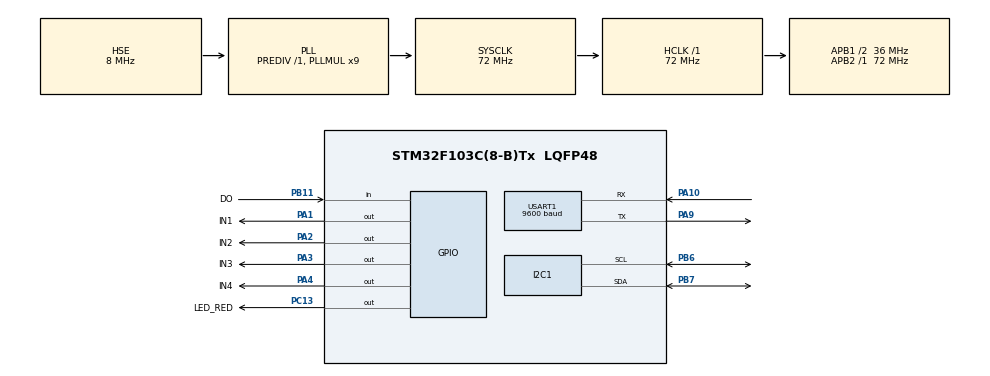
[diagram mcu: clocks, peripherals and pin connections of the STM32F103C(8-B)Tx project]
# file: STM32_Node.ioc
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Dma.Request0=USART1_TX
Dma.USART1_TX.0.Direction=DMA_MEMORY_TO_PERIPH
Dma.USART1_TX.0.Instance=DMA1_Channel4
Dma.USART1_TX.0.MemDataAlignment=DMA_MDATAALIGN_BYTE
Dma.USART1_TX.0.MemInc=DMA_MINC_ENABLE
Dma.USART1_TX.0.Mode=DMA_NORMAL
Dma.USART1_TX.0.PeriphDataAlignment=DMA_PDATAALIGN_BYTE
Dma.USART1_TX.0.PeriphInc=DMA_PINC_DISABLE
Dma.USART1_TX.0.Priority=DMA_PRIORITY_LOW
Mcu.Family=STM32F1
Mcu.Name=STM32F103C(8-B)Tx
Mcu.Package=LQFP48
NVIC.DMA1_Channel4_IRQn=true\:0\:0\:false\:false\:true\:false\:true
NVIC.PriorityGroup=NVIC_PRIORITYGROUP_4
NVIC.TIM2_IRQn=true\:0\:0\:false\:false\:true\:true\:true
NVIC.USART1_IRQn=true\:0\:0\:false\:false\:true\:true\:true
PA1.GPIO_Label=IN1
PA1.GPIO_Speed=GPIO_SPEED_FREQ_HIGH
PA1.Signal=GPIO_Output
PA10.Mode=Asynchronous
PA10.Signal=USART1_RX
PA13.Mode=Serial_Wire
PA13.Signal=SYS_JTMS-SWDIO
PA14.Mode=Serial_Wire
PA14.Signal=SYS_JTCK-SWCLK
PA2.GPIO_Label=IN2
PA2.GPIO_Speed=GPIO_SPEED_FREQ_HIGH
PA2.Signal=GPIO_Output
PA3.GPIO_Label=IN3
PA3.GPIO_Speed=GPIO_SPEED_FREQ_HIGH
PA3.Signal=GPIO_Output
PA4.GPIO_Label=IN4
PA4.GPIO_Speed=GPIO_SPEED_FREQ_HIGH
PA4.Signal=GPIO_Output
PA9.Mode=Asynchronous
PA9.Signal=USART1_TX
PB11.GPIO_Label=DO
PB11.GPIO_PuPd=GPIO_PULLUP
PB11.Signal=GPIO_Input
PB6.Mode=I2C
PB6.Signal=I2C1_SCL
PB7.Mode=I2C
PB7.Signal=I2C1_SDA
PC13-TAMPER-RTC.GPIO_Label=LED_RED
PC13-TAMPER-RTC.GPIO_Speed=GPIO_SPEED_FREQ_HIGH
PC13-TAMPER-RTC.Signal=GPIO_Output
PD0-OSC_IN.Mode=HSE-External-Oscillator
PD0-OSC_IN.Signal=RCC_OSC_IN
PD1-OSC_OUT.Mode=HSE-External-Oscillator
PD1-OSC_OUT.Signal=RCC_OSC_OUT
ProjectManager.HeapSize=0x200
ProjectManager.StackSize=0x400
ProjectManager.TargetToolchain=STM32CubeIDE
RCC.AHBFreq_Value=72000000
RCC.APB1CLKDivider=RCC_HCLK_DIV2
RCC.APB1Freq_Value=36000000
RCC.APB1TimFreq_Value=72000000
RCC.APB2Freq_Value=72000000
RCC.APB2TimFreq_Value=72000000
RCC.HCLKFreq_Value=72000000
RCC.PLLMUL=RCC_PLL_MUL9
RCC.PLLSourceVirtual=RCC_PLLSOURCE_HSE
RCC.SYSCLKFreq_VALUE=72000000
RCC.SYSCLKSource=RCC_SYSCLKSOURCE_PLLCLK
RCC.USBFreq_Value=72000000
TIM2.Period=999
TIM2.Prescaler=719
USART1.BaudRate=9600
USART1.VirtualMode=VM_ASYNC
VP_TIM2_VS_ClockSourceINT.Mode=Internal
board=custom

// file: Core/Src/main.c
/* USER CODE BEGIN Header */
/**
  ******************************************************************************
  * @file           : main.c
  * @brief          : Main program body
  ******************************************************************************
  * @attention
  *
  * <h2><center>&copy; Copyright (c) 2026 STMicroelectronics.
  * All rights reserved.</center></h2>
  *
  * This software component is licensed by ST under BSD 3-Clause license,
  * the "License"; You may not use this file except in compliance with the
  * License. You may obtain a copy of the License at:
  *                        opensource.org/licenses/BSD-3-Clause
  *
  ******************************************************************************
  */
/* USER CODE END Header */
#include "main.h"

/* USER CODE BEGIN Includes */
#include "global.h"
#include "software_timer.h"
#include "ldr.h"
#include "dht20.h"
#include "uart_com.h"
#include "led_blinky.h"

/* USER CODE END Includes */

I2C_HandleTypeDef hi2c1;

TIM_HandleTypeDef htim2;

UART_HandleTypeDef huart1;
DMA_HandleTypeDef hdma_usart1_tx;

void SystemClock_Config(void);
static void MX_GPIO_Init(void);
static void MX_I2C1_Init(void);
static void MX_TIM2_Init(void);
static void MX_DMA_Init(void);
static void MX_USART1_UART_Init(void);

int main(void)
{

  /* MCU Configuration--------------------------------------------------------*/

  /* Reset of all peripherals, Initializes the Flash interface and the Systick. */
  HAL_Init();

  /* Configure the system clock */
  SystemClock_Config();

  /* Initialize all configured peripherals */
  MX_GPIO_Init();
  MX_I2C1_Init();
  MX_TIM2_Init();
  MX_DMA_Init();
  MX_USART1_UART_Init();
  /* USER CODE BEGIN 2 */
  HAL_TIM_Base_Start_IT(&htim2);
  HAL_UART_Receive_IT(&huart1, &rx_data, 1);

  HAL_GPIO_WritePin(IN1_GPIO_Port, IN1_Pin, GPIO_PIN_SET);
  HAL_GPIO_WritePin(IN2_GPIO_Port, IN2_Pin, GPIO_PIN_SET);
  HAL_GPIO_WritePin(IN3_GPIO_Port, IN3_Pin, GPIO_PIN_SET);
  HAL_GPIO_WritePin(IN4_GPIO_Port, IN4_Pin, GPIO_PIN_SET);

  setTimer(0, 100);
  setTimer(1, 200);

  /* USER CODE END 2 */

  /* Infinite loop */
  while (1)
  {

    /* USER CODE BEGIN 3 */
	  if(isTimeExpired(0))
	  {
		  ledBlinky();
		  setTimer(0, 100);
	  }

	  LDR_Process();
	  if(isTimeExpired(1))
	  {
		  DHT20_Read();
		  Environment_Process();
		  UART_SendData();
		  setTimer(1, 200);
	  }
  }
  /* USER CODE END 3 */
}

void SystemClock_Config(void)
{
  RCC_OscInitTypeDef RCC_OscInitStruct = {0};
  RCC_ClkInitTypeDef RCC_ClkInitStruct = {0};

  /** Initializes the RCC Oscillators according to the specified parameters
  * in the RCC_OscInitTypeDef structure.
  */
  RCC_OscInitStruct.OscillatorType = RCC_OSCILLATORTYPE_HSE;
  RCC_OscInitStruct.HSEState = RCC_HSE_ON;
  RCC_OscInitStruct.HSEPredivValue = RCC_HSE_PREDIV_DIV1;
  RCC_OscInitStruct.HSIState = RCC_HSI_ON;
  RCC_OscInitStruct.PLL.PLLState = RCC_PLL_ON;
  RCC_OscInitStruct.PLL.PLLSource = RCC_PLLSOURCE_HSE;
  RCC_OscInitStruct.PLL.PLLMUL = RCC_PLL_MUL9;
  if (HAL_RCC_OscConfig(&RCC_OscInitStruct) != HAL_OK)
  {
    Error_Handler();
  }
  /** Initializes the CPU, AHB and APB buses clocks
  */
  RCC_ClkInitStruct.ClockType = RCC_CLOCKTYPE_HCLK|RCC_CLOCKTYPE_SYSCLK
                              |RCC_CLOCKTYPE_PCLK1|RCC_CLOCKTYPE_PCLK2;
  RCC_ClkInitStruct.SYSCLKSource = RCC_SYSCLKSOURCE_PLLCLK;
  RCC_ClkInitStruct.AHBCLKDivider = RCC_SYSCLK_DIV1;
  RCC_ClkInitStruct.APB1CLKDivider = RCC_HCLK_DIV2;
  RCC_ClkInitStruct.APB2CLKDivider = RCC_HCLK_DIV1;

  if (HAL_RCC_ClockConfig(&RCC_ClkInitStruct, FLASH_LATENCY_2) != HAL_OK)
  {
    Error_Handler();
  }
}

static void MX_I2C1_Init(void)
{

  hi2c1.Instance = I2C1;
  hi2c1.Init.ClockSpeed = 100000;
  hi2c1.Init.DutyCycle = I2C_DUTYCYCLE_2;
  hi2c1.Init.OwnAddress1 = 0;
  hi2c1.Init.AddressingMode = I2C_ADDRESSINGMODE_7BIT;
  hi2c1.Init.DualAddressMode = I2C_DUALADDRESS_DISABLE;
  hi2c1.Init.OwnAddress2 = 0;
  hi2c1.Init.GeneralCallMode = I2C_GENERALCALL_DISABLE;
  hi2c1.Init.NoStretchMode = I2C_NOSTRETCH_DISABLE;
  if (HAL_I2C_Init(&hi2c1) != HAL_OK)
  {
    Error_Handler();
  }

}

static void MX_TIM2_Init(void)
{

  TIM_ClockConfigTypeDef sClockSourceConfig = {0};
  TIM_MasterConfigTypeDef sMasterConfig = {0};

  htim2.Instance = TIM2;
  htim2.Init.Prescaler = 719;
  htim2.Init.CounterMode = TIM_COUNTERMODE_UP;
  htim2.Init.Period = 999;
  htim2.Init.ClockDivision = TIM_CLOCKDIVISION_DIV1;
  htim2.Init.AutoReloadPreload = TIM_AUTORELOAD_PRELOAD_DISABLE;
  if (HAL_TIM_Base_Init(&htim2) != HAL_OK)
  {
    Error_Handler();
  }
  sClockSourceConfig.ClockSource = TIM_CLOCKSOURCE_INTERNAL;
  if (HAL_TIM_ConfigClockSource(&htim2, &sClockSourceConfig) != HAL_OK)
  {
    Error_Handler();
  }
  sMasterConfig.MasterOutputTrigger = TIM_TRGO_RESET;
  sMasterConfig.MasterSlaveMode = TIM_MASTERSLAVEMODE_DISABLE;
  if (HAL_TIMEx_MasterConfigSynchronization(&htim2, &sMasterConfig) != HAL_OK)
  {
    Error_Handler();
  }

}

static void MX_USART1_UART_Init(void)
{

  huart1.Instance = USART1;
  huart1.Init.BaudRate = 9600;
  huart1.Init.WordLength = UART_WORDLENGTH_8B;
  huart1.Init.StopBits = UART_STOPBITS_1;
  huart1.Init.Parity = UART_PARITY_NONE;
  huart1.Init.Mode = UART_MODE_TX_RX;
  huart1.Init.HwFlowCtl = UART_HWCONTROL_NONE;
  huart1.Init.OverSampling = UART_OVERSAMPLING_16;
  if (HAL_UART_Init(&huart1) != HAL_OK)
  {
    Error_Handler();
  }

}

static void MX_DMA_Init(void)
{

  /* DMA controller clock enable */
  __HAL_RCC_DMA1_CLK_ENABLE();

  /* DMA interrupt init */
  /* DMA1_Channel4_IRQn interrupt configuration */
  HAL_NVIC_SetPriority(DMA1_Channel4_IRQn, 0, 0);
  HAL_NVIC_EnableIRQ(DMA1_Channel4_IRQn);

}

static void MX_GPIO_Init(void)
{
  GPIO_InitTypeDef GPIO_InitStruct = {0};

  /* GPIO Ports Clock Enable */
  __HAL_RCC_GPIOC_CLK_ENABLE();
  __HAL_RCC_GPIOD_CLK_ENABLE();
  __HAL_RCC_GPIOA_CLK_ENABLE();
  __HAL_RCC_GPIOB_CLK_ENABLE();

  /*Configure GPIO pin Output Level */
  HAL_GPIO_WritePin(LED_RED_GPIO_Port, LED_RED_Pin, GPIO_PIN_RESET);

  /*Configure GPIO pin Output Level */
  HAL_GPIO_WritePin(GPIOA, IN1_Pin|IN2_Pin|IN3_Pin|IN4_Pin, GPIO_PIN_RESET);

  /*Configure GPIO pin : LED_RED_Pin */
  GPIO_InitStruct.Pin = LED_RED_Pin;
  GPIO_InitStruct.Mode = GPIO_MODE_OUTPUT_PP;
  GPIO_InitStruct.Pull = GPIO_NOPULL;
  GPIO_InitStruct.Speed = GPIO_SPEED_FREQ_HIGH;
  HAL_GPIO_Init(LED_RED_GPIO_Port, &GPIO_InitStruct);

  /*Configure GPIO pins : IN1_Pin IN2_Pin IN3_Pin IN4_Pin */
  GPIO_InitStruct.Pin = IN1_Pin|IN2_Pin|IN3_Pin|IN4_Pin;
  GPIO_InitStruct.Mode = GPIO_MODE_OUTPUT_PP;
  GPIO_InitStruct.Pull = GPIO_NOPULL;
  GPIO_InitStruct.Speed = GPIO_SPEED_FREQ_HIGH;
  HAL_GPIO_Init(GPIOA, &GPIO_InitStruct);

  /*Configure GPIO pin : DO_Pin */
  GPIO_InitStruct.Pin = DO_Pin;
  GPIO_InitStruct.Mode = GPIO_MODE_INPUT;
  GPIO_InitStruct.Pull = GPIO_PULLUP;
  HAL_GPIO_Init(DO_GPIO_Port, &GPIO_InitStruct);

}

/* USER CODE BEGIN 4 */
void HAL_TIM_PeriodElapsedCallback(TIM_HandleTypeDef *htim)
{
	timerRun();
}

void HAL_UART_RxCpltCallback(UART_HandleTypeDef *huart)
{
    if (huart->Instance == USART1)
    {
        UART_ReceiveProcess();
    }
}
/* USER CODE END 4 */

void Error_Handler(void)
{
  __disable_irq();
  while (1)
  {
  }
}

/************************ (C) COPYRIGHT STMicroelectronics *****END OF FILE****/
